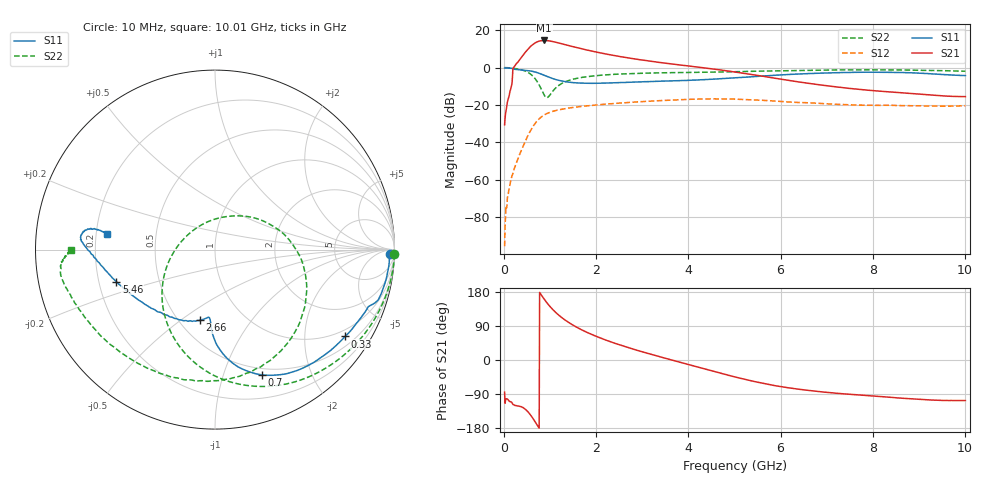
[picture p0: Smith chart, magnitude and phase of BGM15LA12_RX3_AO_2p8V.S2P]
!Agilent Technologies,E5071C,MY46317100,A.11.08
!Date: Fri Dec 19 16:04:16 2014
!Data & Calibration Information:
!Freq	S11:SOLT2(ON)	S21:SOLT2(ON)	S12:SOLT2(ON)	S22:SOLT2(ON)
!PortZ  Port1:50+j0  Port2:50+j0
!Above PortZ is port z conversion or system Z0 setting when saving the data.
!When reading, reference impedance value at option line is always used.
# Hz S RI R 50
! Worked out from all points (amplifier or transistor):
!   1001 points, 10 MHz to 10.01 GHz, reference 50 ohm
!   highest |S21| = 14.5 dB at 870 MHz (marker M1)
!   |S21| within 3 dB of that: 580.8 MHz to 1.443 GHz (862 MHz wide, 85.2 % of centre)
!   unconditionally stable (mu >= 1): start of sweep to end of sweep
!   at 1.67 GHz: K = 1.23, MAG = 12.5 dB, |S12| = -20.8 dB
!   at 5.01 GHz: K = 1.74, MAG = 2.3 dB, |S12| = -16.9 dB
!   at 10.01 GHz: K = 7.54, MAG = -9.4 dB, |S12| = -20.4 dB
!   lowest NFmin = 0.96 dB at 650 MHz
!   S11 on the Smith chart (normalised r, x): 10 MHz: 41, -39; 330 MHz: 0.77, -3.13; 700 MHz: 0.43, -1.35; 2.66 GHz: 0.63, -0.59; 5.46 GHz: 0.27, -0.15; 10.01 GHz: 0.24, +0.07
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1e7  0.9743 -0.0239  0.00255 -0.0292  -1.64e-05 -2.97e-06  0.9993 -0.0259
1.3e8  0.9361 -0.2174  -0.082 -0.2259  -0.000699 0.000362  0.9262 -0.3172
2.3e8  0.8207 -0.3692  -0.5437 -0.9538  -0.00202 0.000693  0.789 -0.5208
3.3e8  0.7256 -0.4837  -0.842 -1.346  -0.00446 0.000913  0.5912 -0.6753
4.4e8  0.6109 -0.5867  -1.48 -1.882  -0.0095 0.00147  0.3111 -0.7608
5.5e8  0.4744 -0.6669  -2.692 -2.141  -0.0176 0.00506  -0.00345 -0.7024
6.2e8  0.3758 -0.6955  -3.677 -1.854  -0.0236 0.0107  -0.1732 -0.5704
7e8  0.2611 -0.6979  -4.675 -0.9677  -0.0287 0.0208  -0.2834 -0.3543
7.8e8  0.1606 -0.6689  -5.171 0.3212  -0.0301 0.0332  -0.2794 -0.1289
8.7e8  0.0787 -0.6163  -5.009 1.784  -0.0264 0.047  -0.1706 0.0633
1.01e9  0.0103 -0.5306  -3.848 3.341  -0.014 0.0631  0.0665 0.1845
1.16e9  -0.0153 -0.4632  -2.383 3.977  0.00161 0.0729  0.2738 0.1571
1.4e9  -0.0245 -0.4071  -0.6137 3.831  0.0245 0.0787  0.4508 0.00136
1.68e9  -0.0294 -0.3824  0.5647 3.135  0.0469 0.0784  0.5102 -0.1884
2.1e9  -0.0432 -0.3798  1.318 2.073  0.0742 0.0713  0.4708 -0.4105
2.66e9  -0.0851 -0.3941  1.525 1.026  0.1024 0.0539  0.3275 -0.5997
3.35e9  -0.1693 -0.3958  1.364 0.2297  0.1277 0.024  0.1038 -0.7136
5.01e9  -0.4692 -0.2488  0.5419 -0.5355  0.1214 -0.0758  -0.5107 -0.5826
5.46e9  -0.5497 -0.1788  0.337 -0.53  0.1002 -0.0923  -0.6409 -0.4763
6.68e9  -0.6948 -0.0151  0.0564 -0.3646  0.0536 -0.0993  -0.8182 -0.2332
8.35e9  -0.7401 0.089  -0.0312 -0.2219  0.0246 -0.0948  -0.8592 -0.099
1.001e10  -0.6033 0.086  -0.0486 -0.1597  0.0103 -0.0952  -0.801 -0.00141
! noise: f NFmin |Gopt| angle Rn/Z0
6.5e+08  0.9575  0.3314  39.85  0.2517
6.6e+08  0.974  0.36  43.17  0.244
7e+08  0.9858  0.3523  55.02  0.1959
8e+08  1.007  0.3725  60.79  0.1967
8.5e+08  1.034  0.3602  64.91  0.1938
9.5e+08  1.08  0.3695  70.77  0.1877
1e+09  1.109  0.3558  71.14  0.1946
1.3e+09  1.142  0.365  91.04  0.174
1.4e+09  1.161  0.3802  95.01  0.1658
1.6e+09  1.211  0.3593  104.7  0.1547
